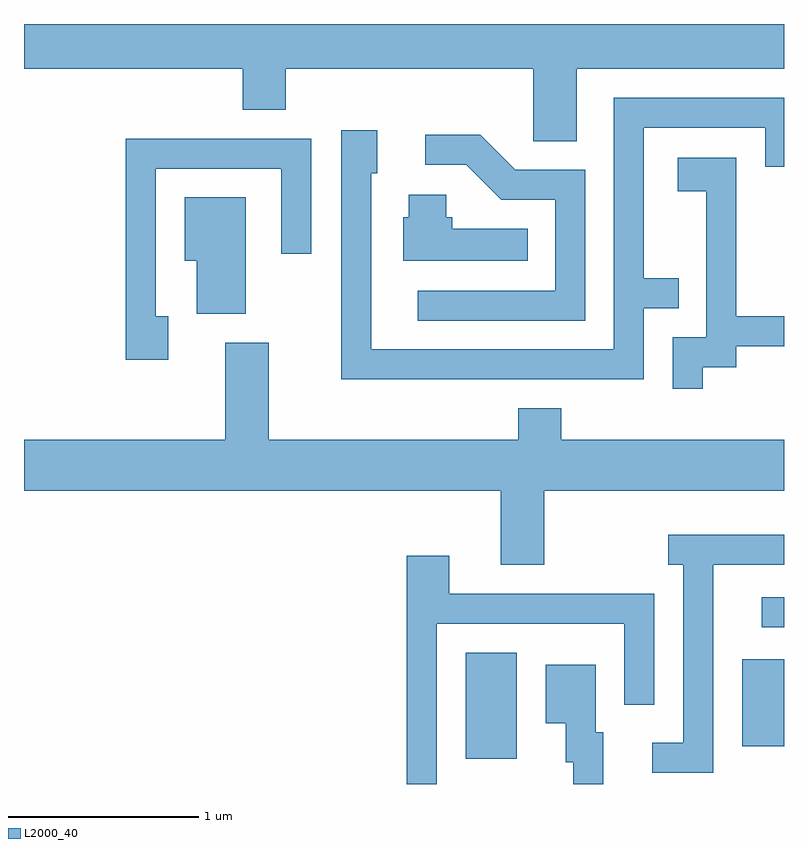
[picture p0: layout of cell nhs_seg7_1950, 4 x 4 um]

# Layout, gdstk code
import gdstk
lib = gdstk.Library(unit=1e-6, precision=1e-09)
def R(c, l, rs):  # rectangles x0, y0, x1, y1
    for r in rs: c.add(gdstk.rectangle(r[:2], r[2:], *l))
def P(c, l, *ps):  # polygons
    for p in ps: c.add(gdstk.Polygon(p, *l))
L2000_40 = (2000, 40)

nhs_seg7_1950 = lib.new_cell('nhs_seg7_1950')
R(nhs_seg7_1950, L2000_40, [(245.936,1788.386,246.204,1788.944), (247.391,1788.451,247.611,1788.909), (247.493,1789.076,247.611,1789.234)])
P(nhs_seg7_1950, L2000_40, [(246.519,1792.016),(247.611,1792.016),(247.611,1792.252),(243.611,1792.252),(243.611,1792.016),(244.761,1792.016),(244.761,1791.801),(244.989,1791.801),(244.989,1792.016),(246.291,1792.016),(246.291,1791.636),(246.519,1791.636)],
  [(246.874,1790.756),(247.058,1790.756),(247.058,1790.914),(246.874,1790.914),(246.874,1791.706),(247.511,1791.706),(247.511,1791.501),(247.611,1791.501),(247.611,1791.864),(246.716,1791.864),(246.716,1790.539),(245.439,1790.539),(245.439,1791.466),(245.469,1791.466),(245.469,1791.694),(245.281,1791.694),(245.281,1790.381),(246.874,1790.381)],
  [(246.564,1791.484),(246.197,1791.484),(246.012,1791.669),(245.723,1791.669),(245.723,1791.511),(245.939,1791.511),(246.124,1791.326),(246.406,1791.326),(246.406,1790.849),(245.683,1790.849),(245.683,1790.691),(246.564,1790.691)],
  [(244.369,1790.714),(244.304,1790.714),(244.304,1791.491),(244.966,1791.491),(244.966,1791.043),(245.124,1791.043),(245.124,1791.649),(244.146,1791.649),(244.146,1790.486),(244.369,1790.486)],
  [(247.184,1790.446),(247.359,1790.446),(247.359,1790.556),(247.611,1790.556),(247.611,1790.714),(247.359,1790.714),(247.359,1791.549),(247.051,1791.549),(247.051,1791.371),(247.201,1791.371),(247.201,1790.604),(247.026,1790.604),(247.026,1790.333),(247.184,1790.333)],
  [(246.263,1791.174),(245.864,1791.174),(245.864,1791.234),(245.834,1791.234),(245.834,1791.354),(245.636,1791.354),(245.636,1791.234),(245.606,1791.234),(245.606,1791.006),(246.263,1791.006)],
  [(244.779,1791.339),(244.456,1791.339),(244.456,1791.006),(244.521,1791.006),(244.521,1790.726),(244.779,1790.726)],
  [(246.349,1789.796),(247.611,1789.796),(247.611,1790.064),(246.439,1790.064),(246.439,1790.229),(246.211,1790.229),(246.211,1790.064),(244.899,1790.064),(244.899,1790.574),(244.671,1790.574),(244.671,1790.064),(243.611,1790.064),(243.611,1789.796),(246.121,1789.796),(246.121,1789.406),(246.349,1789.406)],
  [(247.239,1789.406),(247.611,1789.406),(247.611,1789.564),(247.003,1789.564),(247.003,1789.406),(247.081,1789.406),(247.081,1788.469),(246.918,1788.469),(246.918,1788.311),(247.239,1788.311)],
  [(245.784,1789.096),(246.771,1789.096),(246.771,1788.668),(246.929,1788.668),(246.929,1789.254),(245.849,1789.254),(245.849,1789.454),(245.626,1789.454),(245.626,1788.252),(245.784,1788.252)],
  [(246.659,1788.524),(246.619,1788.524),(246.619,1788.879),(246.356,1788.879),(246.356,1788.571),(246.461,1788.571),(246.461,1788.366),(246.501,1788.366),(246.501,1788.252),(246.659,1788.252)])

lib.write_gds('nhs_seg7_1950.gds')
